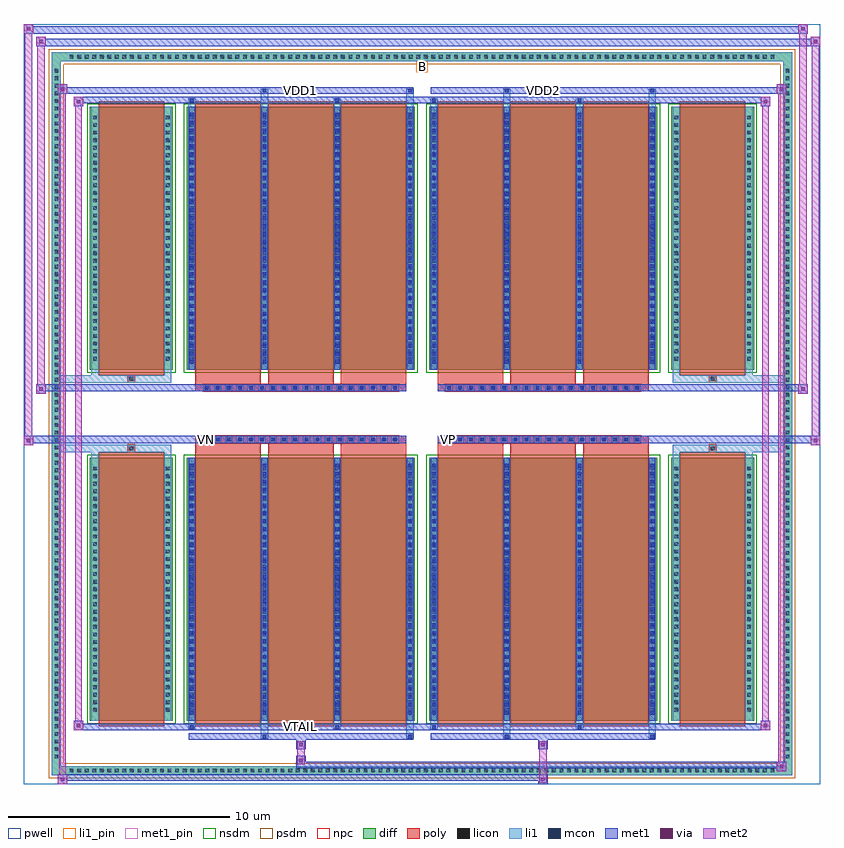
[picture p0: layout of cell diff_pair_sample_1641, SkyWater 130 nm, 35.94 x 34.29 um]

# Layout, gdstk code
import gdstk
lib = gdstk.Library(unit=1e-6, precision=5e-09)
def R(c, l, rs):  # rectangles x0, y0, x1, y1
    for r in rs: c.add(gdstk.rectangle(r[:2], r[2:], *l))
def A(c, l, x, y, w, h, nx, ny, dx, dy):  # array of equal rectangles
    R(c, l, [(x+i*dx, y+j*dy, x+i*dx+w, y+j*dy+h) for i in range(nx) for j in range(ny)])
def P(c, l, *ps):  # polygons
    for p in ps: c.add(gdstk.Polygon(p, *l))
pwell = (64, 44)
diff = (65, 20)
poly = (66, 20)
licon = (66, 44)
li1_pin = (67, 16)
li1 = (67, 20)
mcon = (67, 44)
met1_pin = (68, 16)
met1 = (68, 20)
via = (68, 44)
met2 = (69, 20)
nsdm = (93, 44)
psdm = (94, 20)
npc = (95, 20)

diff_pair_sample_1641 = lib.new_cell('diff_pair_sample_1641')
R(diff_pair_sample_1641, pwell, [(-17.97,-16.71,17.97,17.58), (-15.29,-14.9,-0.01,-0.8), (0.01,-14.9,15.29,-0.8), (-15.29,0.8,-0.01,14.9), (0.01,0.8,15.29,14.9)])
A(diff_pair_sample_1641, diff, -16.015, -16.31, 0.41, 0.41, 94, 2, 0.34, 32.21)
A(diff_pair_sample_1641, diff, -16.7, -15.675, 0.41, 0.41, 1, 92, 0, 0.34)
A(diff_pair_sample_1641, diff, 16.29, -15.675, 0.41, 0.41, 1, 92, 0, 0.34)
R(diff_pair_sample_1641, diff, [(-16.015,-16.31,16.015,-15.9), (-16.7,-15.675,-16.29,15.675), (16.29,-15.675,16.7,15.675), (-14.98,-13.855,-11.25,-1.985), (-10.61,-13.855,-0.32,-1.985), (0.32,-13.855,10.61,-1.985), (11.25,-13.855,14.98,-1.985), (-14.98,1.985,-11.25,13.855), (-10.61,1.985,-0.32,13.855), (0.32,1.985,10.61,13.855), (11.25,1.985,14.98,13.855), (-16.015,15.9,16.015,16.31)])
P(diff_pair_sample_1641, diff, [(16.7,16.31),(-16.7,16.31),(-16.7,-15.9),(-16.29,-15.9),(-16.29,15.9),(16.29,15.9),(16.29,-15.9),(-16.29,-15.9),(-16.7,-15.9),(-16.7,-16.31),(16.7,-16.31)])
A(diff_pair_sample_1641, poly, -10.22, -14.105, 2.95, 12.37, 3, 2, 3.28, 15.84)
A(diff_pair_sample_1641, poly, 0.71, -14.105, 2.95, 12.37, 3, 2, 3.28, 15.84)
A(diff_pair_sample_1641, poly, -10.22, -1.735, 2.95, 0.405, 3, 2, 3.28, 3.065)
A(diff_pair_sample_1641, poly, 0.71, -1.735, 2.95, 0.405, 3, 2, 3.28, 3.065)
A(diff_pair_sample_1641, poly, -9.88, -1.33, 0.33, 0.33, 18, 2, 0.5, 2.33)
A(diff_pair_sample_1641, poly, 1.05, -1.33, 0.33, 0.33, 18, 2, 0.5, 2.33)
R(diff_pair_sample_1641, poly, [(-14.59,-14.105,-11.64,-1.735), (11.64,-14.105,14.59,-1.735), (-13.28,-1.735,-12.95,-1.405), (-13.28,-1.735,-12.95,-1.405), (12.95,-1.735,13.28,-1.405), (12.95,-1.735,13.28,-1.405), (-10.22,-1.33,-0.71,-1), (0.71,-1.33,10.22,-1), (-10.22,1,-0.71,1.33), (0.71,1,10.22,1.33), (-13.28,1.405,-12.95,1.735), (-13.28,1.405,-12.95,1.735), (12.95,1.405,13.28,1.735), (12.95,1.405,13.28,1.735), (-14.59,1.735,-11.64,14.105), (11.64,1.735,14.59,14.105)])
A(diff_pair_sample_1641, licon, -15.895, -16.19, 0.17, 0.17, 94, 2, 0.34, 32.21)
A(diff_pair_sample_1641, licon, -16.58, -15.555, 0.17, 0.17, 1, 92, 0, 0.34)
A(diff_pair_sample_1641, licon, 16.41, -15.555, 0.17, 0.17, 1, 92, 0, 0.34)
A(diff_pair_sample_1641, licon, -14.84, -13.445, 0.17, 0.17, 1, 33, 0, 0.34)
A(diff_pair_sample_1641, licon, -11.56, -13.445, 0.17, 0.17, 1, 33, 0, 0.34)
A(diff_pair_sample_1641, licon, -10.47, -13.445, 0.17, 0.17, 4, 33, 3.28, 0.34)
A(diff_pair_sample_1641, licon, 0.46, -13.445, 0.17, 0.17, 4, 33, 3.28, 0.34)
A(diff_pair_sample_1641, licon, 11.39, -13.445, 0.17, 0.17, 1, 33, 0, 0.34)
A(diff_pair_sample_1641, licon, 14.67, -13.445, 0.17, 0.17, 1, 33, 0, 0.34)
A(diff_pair_sample_1641, licon, -9.8, -1.25, 0.17, 0.17, 18, 2, 0.5, 2.33)
A(diff_pair_sample_1641, licon, 1.13, -1.25, 0.17, 0.17, 18, 2, 0.5, 2.33)
A(diff_pair_sample_1641, licon, -14.84, 2.395, 0.17, 0.17, 1, 33, 0, 0.34)
A(diff_pair_sample_1641, licon, -11.56, 2.395, 0.17, 0.17, 1, 33, 0, 0.34)
A(diff_pair_sample_1641, licon, -10.47, 2.395, 0.17, 0.17, 4, 33, 3.28, 0.34)
A(diff_pair_sample_1641, licon, 0.46, 2.395, 0.17, 0.17, 4, 33, 3.28, 0.34)
A(diff_pair_sample_1641, licon, 11.39, 2.395, 0.17, 0.17, 1, 33, 0, 0.34)
A(diff_pair_sample_1641, licon, 14.67, 2.395, 0.17, 0.17, 1, 33, 0, 0.34)
R(diff_pair_sample_1641, licon, [(-13.2,-1.655,-13.03,-1.485), (13.03,-1.655,13.2,-1.485), (-13.2,1.485,-13.03,1.655), (13.03,1.485,13.2,1.655)])
R(diff_pair_sample_1641, li1_pin, [(-0.25,15.4,0.25,15.9)])
A(diff_pair_sample_1641, li1, -15.975, -16.27, 0.33, 0.33, 94, 2, 0.34, 32.21)
A(diff_pair_sample_1641, li1, -16.66, -15.635, 0.33, 0.33, 1, 92, 0, 0.34)
A(diff_pair_sample_1641, li1, 16.33, -15.635, 0.33, 0.33, 1, 92, 0, 0.34)
A(diff_pair_sample_1641, li1, -10.55, -13.855, 0.33, 11.87, 4, 2, 3.28, 15.84)
A(diff_pair_sample_1641, li1, 0.38, -13.855, 0.33, 11.87, 4, 2, 3.28, 15.84)
A(diff_pair_sample_1641, li1, -10.47, -13.585, 0.17, 0.17, 4, 32, 3.28, 0.36)
A(diff_pair_sample_1641, li1, -10.47, -13.585, 0.17, 11.33, 4, 2, 3.28, 15.84)
A(diff_pair_sample_1641, li1, 0.46, -13.585, 0.17, 0.17, 4, 32, 3.28, 0.36)
A(diff_pair_sample_1641, li1, 0.46, -13.585, 0.17, 11.33, 4, 2, 3.28, 15.84)
A(diff_pair_sample_1641, li1, -14.92, -13.525, 0.33, 0.33, 1, 33, 0, 0.34)
A(diff_pair_sample_1641, li1, -11.64, -13.525, 0.33, 0.33, 1, 33, 0, 0.34)
A(diff_pair_sample_1641, li1, -10.55, -13.525, 0.33, 0.33, 4, 33, 3.28, 0.34)
A(diff_pair_sample_1641, li1, 0.38, -13.525, 0.33, 0.33, 4, 33, 3.28, 0.34)
A(diff_pair_sample_1641, li1, 11.31, -13.525, 0.33, 0.33, 1, 33, 0, 0.34)
A(diff_pair_sample_1641, li1, 14.59, -13.525, 0.33, 0.33, 1, 33, 0, 0.34)
A(diff_pair_sample_1641, li1, -9.88, -1.33, 0.33, 0.33, 18, 2, 0.5, 2.33)
A(diff_pair_sample_1641, li1, 1.05, -1.33, 0.33, 0.33, 18, 2, 0.5, 2.33)
A(diff_pair_sample_1641, li1, -10.47, 2.255, 0.17, 0.17, 4, 32, 3.28, 0.36)
A(diff_pair_sample_1641, li1, 0.46, 2.255, 0.17, 0.17, 4, 32, 3.28, 0.36)
A(diff_pair_sample_1641, li1, -14.92, 2.315, 0.33, 0.33, 1, 33, 0, 0.34)
A(diff_pair_sample_1641, li1, -11.64, 2.315, 0.33, 0.33, 1, 33, 0, 0.34)
A(diff_pair_sample_1641, li1, -10.55, 2.315, 0.33, 0.33, 4, 33, 3.28, 0.34)
A(diff_pair_sample_1641, li1, 0.38, 2.315, 0.33, 0.33, 4, 33, 3.28, 0.34)
A(diff_pair_sample_1641, li1, 11.31, 2.315, 0.33, 0.33, 1, 33, 0, 0.34)
A(diff_pair_sample_1641, li1, 14.59, 2.315, 0.33, 0.33, 1, 33, 0, 0.34)
R(diff_pair_sample_1641, li1, [(-16.7,-16.31,-16.29,-15.9), (-16.7,-16.31,-16.29,-15.9), (-16.29,-16.31,16.29,-15.9), (16.29,-16.31,16.7,-15.9), (16.29,-16.31,16.7,-15.9), (-16.7,-15.9,-16.29,15.9), (16.29,-15.9,16.7,15.9), (-7.27,-14.66,-6.94,-13.855), (-7.19,-14.66,-7.02,-14.49), (-0.71,-14.66,-0.38,-13.855), (-0.63,-14.66,-0.46,-14.49), (3.66,-14.66,3.99,-13.855), (3.74,-14.66,3.91,-14.49), (10.22,-14.66,10.55,-13.855), (10.3,-14.66,10.47,-14.49), (-10.55,-14.23,-10.22,-13.855), (-10.47,-14.23,-10.3,-14.06), (-3.99,-14.23,-3.66,-13.855), (-3.91,-14.23,-3.74,-14.06), (0.38,-14.23,0.71,-13.855), (0.46,-14.23,0.63,-14.06), (6.94,-14.23,7.27,-13.855), (7.02,-14.23,7.19,-14.06), (-14.92,-13.855,-14.59,-1.985), (-11.64,-13.855,-11.31,-1.985), (11.31,-13.855,11.64,-1.985), (14.59,-13.855,14.92,-1.985), (-14.92,-1.985,-14.59,-1.405), (-11.64,-1.985,-11.31,-1.405), (11.31,-1.985,11.64,-1.405), (14.59,-1.985,14.92,-1.405), (-16.7,-1.735,-13.28,-1.405), (-14.92,-1.735,-13.28,-1.405), (-13.28,-1.735,-12.95,-1.405), (-12.95,-1.735,-11.31,-1.405), (11.31,-1.735,12.95,-1.405), (12.95,-1.735,13.28,-1.405), (12.95,-1.735,16.7,-1.405), (13.28,-1.735,14.92,-1.405), (-16.7,1.405,-13.28,1.735), (-14.92,1.405,-13.28,1.735), (-14.92,1.405,-14.59,1.985), (-13.28,1.405,-12.95,1.735), (-12.95,1.405,-11.31,1.735), (-11.64,1.405,-11.31,1.985), (11.31,1.405,12.95,1.735), (11.31,1.405,11.64,1.985), (12.95,1.405,13.28,1.735), (12.95,1.405,16.7,1.735), (13.28,1.405,14.92,1.735), (14.59,1.405,14.92,1.985), (-14.92,1.985,-14.59,13.855), (-11.64,1.985,-11.31,13.855), (11.31,1.985,11.64,13.855), (14.59,1.985,14.92,13.855), (-10.55,13.855,-10.22,14.23), (-7.27,13.855,-6.94,14.66), (-3.99,13.855,-3.66,14.23), (-0.71,13.855,-0.38,14.66), (0.38,13.855,0.71,14.23), (3.66,13.855,3.99,14.66), (6.94,13.855,7.27,14.23), (10.22,13.855,10.55,14.66), (-10.47,14.06,-10.3,14.23), (-3.91,14.06,-3.74,14.23), (0.46,14.06,0.63,14.23), (7.02,14.06,7.19,14.23), (-7.19,14.49,-7.02,14.66), (-0.63,14.49,-0.46,14.66), (3.74,14.49,3.91,14.66), (10.3,14.49,10.47,14.66), (-16.7,15.9,-16.29,16.31), (-16.7,15.9,-16.29,16.31), (-16.29,15.9,16.29,16.31), (16.29,15.9,16.7,16.31), (16.29,15.9,16.7,16.31)])
A(diff_pair_sample_1641, mcon, -10.47, -13.585, 0.17, 0.17, 4, 32, 3.28, 0.36)
A(diff_pair_sample_1641, mcon, 0.46, -13.585, 0.17, 0.17, 4, 32, 3.28, 0.36)
A(diff_pair_sample_1641, mcon, -9.8, -1.25, 0.17, 0.17, 18, 2, 0.5, 2.33)
A(diff_pair_sample_1641, mcon, 1.13, -1.25, 0.17, 0.17, 18, 2, 0.5, 2.33)
A(diff_pair_sample_1641, mcon, -10.47, 2.255, 0.17, 0.17, 4, 32, 3.28, 0.36)
A(diff_pair_sample_1641, mcon, 0.46, 2.255, 0.17, 0.17, 4, 32, 3.28, 0.36)
R(diff_pair_sample_1641, mcon, [(-7.19,-14.66,-7.02,-14.49), (-0.63,-14.66,-0.46,-14.49), (3.74,-14.66,3.91,-14.49), (10.3,-14.66,10.47,-14.49), (-10.47,-14.23,-10.3,-14.06), (-3.91,-14.23,-3.74,-14.06), (0.46,-14.23,0.63,-14.06), (7.02,-14.23,7.19,-14.06), (-10.47,14.06,-10.3,14.23), (-3.91,14.06,-3.74,14.23), (0.46,14.06,0.63,14.23), (7.02,14.06,7.19,14.23), (-7.19,14.49,-7.02,14.66), (-0.63,14.49,-0.46,14.66), (3.74,14.49,3.91,14.66), (10.3,14.49,10.47,14.66)])
R(diff_pair_sample_1641, met1_pin, [(-5.6,-14.27,-5.33,-14), (-9.85,-1.29,-9.58,-1.02), (1.08,-1.29,1.35,-1.02), (-5.6,14.45,-5.33,14.72), (5.33,14.45,5.6,14.72)])
A(diff_pair_sample_1641, met1, -10.53, -13.855, 0.29, 11.87, 4, 2, 3.28, 15.84)
A(diff_pair_sample_1641, met1, 0.4, -13.855, 0.29, 11.87, 4, 2, 3.28, 15.84)
A(diff_pair_sample_1641, met1, -10.53, -13.645, 0.29, 0.29, 4, 32, 3.28, 0.36)
A(diff_pair_sample_1641, met1, 0.4, -13.645, 0.29, 0.29, 4, 32, 3.28, 0.36)
A(diff_pair_sample_1641, met1, -9.86, -1.31, 0.29, 0.29, 18, 2, 0.5, 2.33)
A(diff_pair_sample_1641, met1, 1.07, -1.31, 0.29, 0.29, 18, 2, 0.5, 2.33)
A(diff_pair_sample_1641, met1, -10.53, 2.195, 0.29, 0.29, 4, 32, 3.28, 0.36)
A(diff_pair_sample_1641, met1, 0.4, 2.195, 0.29, 0.29, 4, 32, 3.28, 0.36)
R(diff_pair_sample_1641, met1, [(-16.43,-16.71,-16,-16.28), (5.25,-16.71,5.68,-16.28), (-16.43,-16.57,5.68,-16.28), (16,-16.14,16.43,-15.71), (-5.68,-16,16.43,-15.71), (-5.68,-15.86,-5.25,-15.43), (-5.68,-15.15,-5.25,-14.72), (5.25,-15.15,5.68,-14.72), (-10.53,-14.72,-0.4,-14.43), (-7.25,-14.72,-6.96,-14.43), (-0.69,-14.72,-0.4,-14.43), (0.4,-14.72,10.53,-14.43), (3.68,-14.72,3.97,-14.43), (10.24,-14.72,10.53,-14.43), (-15.72,-14.29,-15.29,-13.86), (-15.72,-14.29,-10.53,-14), (-10.53,-14.29,-10.24,-14), (-10.53,-14.29,-0.4,-14), (-3.97,-14.29,-3.68,-14), (-0.4,-14.29,0.4,-14), (0.4,-14.29,0.69,-14), (0.4,-14.29,10.53,-14), (6.96,-14.29,7.25,-14), (10.53,-14.29,15.72,-14), (15.29,-14.29,15.72,-13.86), (-17.97,-1.43,-17.54,-1), (17.54,-1.43,17.97,-1), (-17.97,-1.33,-0.71,-1), (-10.22,-1.33,-0.71,-1), (0.71,-1.33,10.22,-1), (0.71,-1.33,17.97,-1), (-17.4,0.9,-16.97,1.33), (16.97,0.9,17.4,1.33), (-17.4,1,-10.22,1.33), (-10.22,1,-0.71,1.33), (0.71,1,10.22,1.33), (10.22,1,17.4,1.33), (-15.72,13.86,-15.29,14.29), (15.29,13.86,15.72,14.29), (-15.72,14,-10.53,14.29), (-10.53,14,-10.24,14.29), (-10.53,14,-0.4,14.29), (-3.97,14,-3.68,14.29), (-0.4,14,0.4,14.29), (0.4,14,0.69,14.29), (0.4,14,10.53,14.29), (6.96,14,7.25,14.29), (10.53,14,15.72,14.29), (-16.43,14.43,-16,14.86), (-16.43,14.43,-10.53,14.72), (-10.53,14.43,-0.4,14.72), (-7.25,14.43,-6.96,14.72), (-0.69,14.43,-0.4,14.72), (0.4,14.43,10.53,14.72), (3.68,14.43,3.97,14.72), (10.24,14.43,10.53,14.72), (10.53,14.43,16.43,14.72), (16,14.43,16.43,14.86), (-17.4,16.58,-16.97,17.01), (-17.4,16.58,-15.29,16.91), (-15.29,16.58,15.29,16.91), (15.29,16.58,17.97,16.91), (17.54,16.58,17.97,17.01), (-17.97,17.15,-17.54,17.58), (-17.97,17.15,-15.29,17.48), (-15.29,17.15,15.29,17.48), (15.29,17.15,17.4,17.48), (16.97,17.15,17.4,17.58)])
R(diff_pair_sample_1641, via, [(-16.29,-16.57,-16.14,-16.42), (5.39,-16.57,5.54,-16.42), (16.14,-16,16.29,-15.85), (-5.54,-15.72,-5.39,-15.57), (-5.54,-15.01,-5.39,-14.86), (5.39,-15.01,5.54,-14.86), (-15.58,-14.15,-15.43,-14), (15.43,-14.15,15.58,-14), (-17.83,-1.29,-17.68,-1.14), (17.68,-1.29,17.83,-1.14), (-17.26,1.04,-17.11,1.19), (17.11,1.04,17.26,1.19), (-15.58,14,-15.43,14.15), (15.43,14,15.58,14.15), (-16.29,14.57,-16.14,14.72), (16.14,14.57,16.29,14.72), (-17.26,16.72,-17.11,16.87), (17.68,16.72,17.83,16.87), (-17.83,17.29,-17.68,17.44), (17.11,17.29,17.26,17.44)])
R(diff_pair_sample_1641, met2, [(-16.43,-16.71,-16,-16.28), (-16.36,-16.71,-16.07,14.86), (-16.07,-16.71,-16,-16.28), (-16.38,-16.66,-16.05,-16.33), (5.3,-16.66,5.63,-16.33), (5.3,-16.33,5.63,-15.1), (16,-16.14,16.43,-15.71), (16.07,-16.14,16.36,14.86), (16.36,-16.14,16.43,-15.71), (16.05,-16.09,16.38,-15.76), (-5.63,-15.81,-5.3,-15.48), (-5.63,-15.48,-5.3,-15.1), (-5.63,-15.1,-5.3,-14.77), (5.3,-15.1,5.63,-14.77), (-15.72,-14.29,-15.29,-13.86), (-15.65,-14.29,-15.36,14.29), (-15.36,-14.29,-15.29,-13.86), (15.29,-14.29,15.72,-13.86), (15.36,-14.29,15.65,14.29), (15.65,-14.29,15.72,-13.86), (-15.67,-14.24,-15.34,-13.91), (15.34,-14.24,15.67,-13.91), (-17.97,-1.43,-17.54,-1), (-17.92,-1.43,-17.59,17.58), (-17.59,-1.43,-17.54,-1), (17.54,-1.43,17.97,-1), (17.59,-1.43,17.92,17.01), (17.92,-1.43,17.97,-1), (-17.92,-1.38,-17.59,-1.05), (17.59,-1.38,17.92,-1.05), (-17.4,0.9,-16.97,1.33), (-17.35,0.9,-17.02,17.01), (-17.02,0.9,-16.97,1.33), (16.97,0.9,17.4,1.33), (17.02,0.9,17.35,17.58), (17.35,0.9,17.4,1.33), (-17.35,0.95,-17.02,1.28), (17.02,0.95,17.35,1.28), (-15.72,13.86,-15.29,14.29), (-15.36,13.86,-15.29,14.29), (15.29,13.86,15.72,14.29), (15.65,13.86,15.72,14.29), (-15.67,13.91,-15.34,14.24), (15.34,13.91,15.67,14.24), (-16.43,14.43,-16,14.86), (-16.07,14.43,-16,14.86), (16,14.43,16.43,14.86), (16.36,14.43,16.43,14.86), (-16.38,14.48,-16.05,14.81), (16.05,14.48,16.38,14.81), (-17.4,16.58,-16.97,17.01), (-17.02,16.58,-16.97,17.01), (17.54,16.58,17.97,17.01), (17.92,16.58,17.97,17.01), (-17.35,16.63,-17.02,16.96), (17.59,16.63,17.92,16.96), (-17.97,17.15,-17.54,17.58), (-17.59,17.15,-17.54,17.58), (16.97,17.15,17.4,17.58), (17.35,17.15,17.4,17.58), (-17.92,17.2,-17.59,17.53), (17.02,17.2,17.35,17.53)])
R(diff_pair_sample_1641, nsdm, [(-15.11,-13.985,-11.12,-1.855), (-10.74,-13.985,-0.19,-1.855), (0.19,-13.985,10.74,-1.855), (11.12,-13.985,15.11,-1.855), (-15.11,1.855,-11.12,13.985), (-10.74,1.855,-0.19,13.985), (0.19,1.855,10.74,13.985), (11.12,1.855,15.11,13.985)])
P(diff_pair_sample_1641, psdm, [(16.83,16.44),(-16.83,16.44),(-16.83,-15.77),(-16.16,-15.77),(-16.16,15.77),(16.16,15.77),(16.16,-15.77),(-16.16,-15.77),(-16.83,-15.77),(-16.83,-16.44),(16.83,-16.44)])
A(diff_pair_sample_1641, npc, -9.9, -1.35, 0.37, 0.37, 18, 2, 0.5, 2.33)
A(diff_pair_sample_1641, npc, 1.03, -1.35, 0.37, 0.37, 18, 2, 0.5, 2.33)
R(diff_pair_sample_1641, npc, [(-13.3,-1.755,-12.93,-1.385), (12.93,-1.755,13.3,-1.385), (-9.9,-1.35,-9.03,-0.98), (-9.9,-1.35,-9.03,-0.98), (-9.4,-1.35,-8.53,-0.98), (-9.4,-1.35,-8.53,-0.98), (-8.9,-1.35,-8.03,-0.98), (-8.9,-1.35,-8.03,-0.98), (-8.4,-1.35,-7.53,-0.98), (-8.4,-1.35,-7.53,-0.98), (-7.9,-1.35,-7.03,-0.98), (-7.9,-1.35,-7.03,-0.98), (-7.4,-1.35,-6.53,-0.98), (-7.4,-1.35,-6.53,-0.98), (-6.9,-1.35,-6.03,-0.98), (-6.9,-1.35,-6.03,-0.98), (-6.4,-1.35,-5.53,-0.98), (-6.4,-1.35,-5.53,-0.98), (-5.9,-1.35,-5.03,-0.98), (-5.9,-1.35,-5.03,-0.98), (-5.4,-1.35,-4.53,-0.98), (-5.4,-1.35,-4.53,-0.98), (-4.9,-1.35,-4.03,-0.98), (-4.9,-1.35,-4.03,-0.98), (-4.4,-1.35,-3.53,-0.98), (-4.4,-1.35,-3.53,-0.98), (-3.9,-1.35,-3.03,-0.98), (-3.9,-1.35,-3.03,-0.98), (-3.4,-1.35,-2.53,-0.98), (-3.4,-1.35,-2.53,-0.98), (-2.9,-1.35,-2.03,-0.98), (-2.9,-1.35,-2.03,-0.98), (-2.4,-1.35,-1.53,-0.98), (-2.4,-1.35,-1.53,-0.98), (-1.9,-1.35,-1.03,-0.98), (-1.9,-1.35,-1.03,-0.98), (1.03,-1.35,1.9,-0.98), (1.03,-1.35,1.9,-0.98), (1.53,-1.35,2.4,-0.98), (1.53,-1.35,2.4,-0.98), (2.03,-1.35,2.9,-0.98), (2.03,-1.35,2.9,-0.98), (2.53,-1.35,3.4,-0.98), (2.53,-1.35,3.4,-0.98), (3.03,-1.35,3.9,-0.98), (3.03,-1.35,3.9,-0.98), (3.53,-1.35,4.4,-0.98), (3.53,-1.35,4.4,-0.98), (4.03,-1.35,4.9,-0.98), (4.03,-1.35,4.9,-0.98), (4.53,-1.35,5.4,-0.98), (4.53,-1.35,5.4,-0.98), (5.03,-1.35,5.9,-0.98), (5.03,-1.35,5.9,-0.98), (5.53,-1.35,6.4,-0.98), (5.53,-1.35,6.4,-0.98), (6.03,-1.35,6.9,-0.98), (6.03,-1.35,6.9,-0.98), (6.53,-1.35,7.4,-0.98), (6.53,-1.35,7.4,-0.98), (7.03,-1.35,7.9,-0.98), (7.03,-1.35,7.9,-0.98), (7.53,-1.35,8.4,-0.98), (7.53,-1.35,8.4,-0.98), (8.03,-1.35,8.9,-0.98), (8.03,-1.35,8.9,-0.98), (8.53,-1.35,9.4,-0.98), (8.53,-1.35,9.4,-0.98), (9.03,-1.35,9.9,-0.98), (9.03,-1.35,9.9,-0.98), (-9.9,0.98,-9.03,1.35), (-9.9,0.98,-9.03,1.35), (-9.4,0.98,-8.53,1.35), (-9.4,0.98,-8.53,1.35), (-8.9,0.98,-8.03,1.35), (-8.9,0.98,-8.03,1.35), (-8.4,0.98,-7.53,1.35), (-8.4,0.98,-7.53,1.35), (-7.9,0.98,-7.03,1.35), (-7.9,0.98,-7.03,1.35), (-7.4,0.98,-6.53,1.35), (-7.4,0.98,-6.53,1.35), (-6.9,0.98,-6.03,1.35), (-6.9,0.98,-6.03,1.35), (-6.4,0.98,-5.53,1.35), (-6.4,0.98,-5.53,1.35), (-5.9,0.98,-5.03,1.35), (-5.9,0.98,-5.03,1.35), (-5.4,0.98,-4.53,1.35), (-5.4,0.98,-4.53,1.35), (-4.9,0.98,-4.03,1.35), (-4.9,0.98,-4.03,1.35), (-4.4,0.98,-3.53,1.35), (-4.4,0.98,-3.53,1.35), (-3.9,0.98,-3.03,1.35), (-3.9,0.98,-3.03,1.35), (-3.4,0.98,-2.53,1.35), (-3.4,0.98,-2.53,1.35), (-2.9,0.98,-2.03,1.35), (-2.9,0.98,-2.03,1.35), (-2.4,0.98,-1.53,1.35), (-2.4,0.98,-1.53,1.35), (-1.9,0.98,-1.03,1.35), (-1.9,0.98,-1.03,1.35), (1.03,0.98,1.9,1.35), (1.03,0.98,1.9,1.35), (1.53,0.98,2.4,1.35), (1.53,0.98,2.4,1.35), (2.03,0.98,2.9,1.35), (2.03,0.98,2.9,1.35), (2.53,0.98,3.4,1.35), (2.53,0.98,3.4,1.35), (3.03,0.98,3.9,1.35), (3.03,0.98,3.9,1.35), (3.53,0.98,4.4,1.35), (3.53,0.98,4.4,1.35), (4.03,0.98,4.9,1.35), (4.03,0.98,4.9,1.35), (4.53,0.98,5.4,1.35), (4.53,0.98,5.4,1.35), (5.03,0.98,5.9,1.35), (5.03,0.98,5.9,1.35), (5.53,0.98,6.4,1.35), (5.53,0.98,6.4,1.35), (6.03,0.98,6.9,1.35), (6.03,0.98,6.9,1.35), (6.53,0.98,7.4,1.35), (6.53,0.98,7.4,1.35), (7.03,0.98,7.9,1.35), (7.03,0.98,7.9,1.35), (7.53,0.98,8.4,1.35), (7.53,0.98,8.4,1.35), (8.03,0.98,8.9,1.35), (8.03,0.98,8.9,1.35), (8.53,0.98,9.4,1.35), (8.53,0.98,9.4,1.35), (9.03,0.98,9.9,1.35), (9.03,0.98,9.9,1.35), (-13.3,1.385,-12.93,1.755), (12.93,1.385,13.3,1.755)])
diff_pair_sample_1641.add(gdstk.Label('VTAIL', (-5.465,-14.135), layer=68, texttype=5))
diff_pair_sample_1641.add(gdstk.Label('VN', (-9.715,-1.155), layer=68, texttype=5))
diff_pair_sample_1641.add(gdstk.Label('VP', (1.215,-1.155), layer=68, texttype=5))
diff_pair_sample_1641.add(gdstk.Label('B', (0,15.65), layer=67, texttype=5))
diff_pair_sample_1641.add(gdstk.Label('VDD2', (5.465,14.585), layer=68, texttype=5))
diff_pair_sample_1641.add(gdstk.Label('VDD1', (-5.465,14.585), layer=68, texttype=5))

lib.write_gds('diff_pair_sample_1641.gds')
